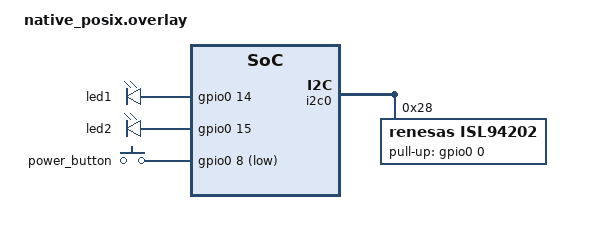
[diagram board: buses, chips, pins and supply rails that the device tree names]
/*
 * Copyright (c) The Libre Solar Project Contributors
 *
 * SPDX-License-Identifier: Apache-2.0
 */

/ {
	pcb {
		compatible = "bms";

		type = "Native POSIX dummy";
		version-str = "v0.1";
		version-num = <1>;
	};

	chosen {
		zephyr,console = &uart0;
		zephyr,shell-uart = &uart0;
		zephyr,flash = &flash0;
	};

	leds {
		compatible = "gpio-leds";
		led1: led_0 {
			gpios = <&gpio0 14 GPIO_ACTIVE_HIGH>;
		};
		led2: led_1 {
			gpios = <&gpio0 15 GPIO_ACTIVE_HIGH>;
		};
	};

	gpio_keys {
		compatible = "gpio-keys";
		power_button: button {
			gpios = <&gpio0 8 GPIO_ACTIVE_LOW>;
		};
	};

	aliases {
		led-red = &led1;
		led-green = &led2;
		sw-pwr = &power_button;
                bms-ic = &isl94202;
	};
};

&i2c0 {
	status = "okay";

	isl94202: isl94202@28 {
		compatible = "renesas,isl94202";
		reg = <0x28>;	/* 0x50 >> 1 */
		pull-up-gpios = <&gpio0 0 GPIO_ACTIVE_HIGH>;
		shunt-resistor-uohm = <2000>;
		board-max-current = <50>;
		used-cell-channels = <0xFF>;
		status = "okay";
	};
};
